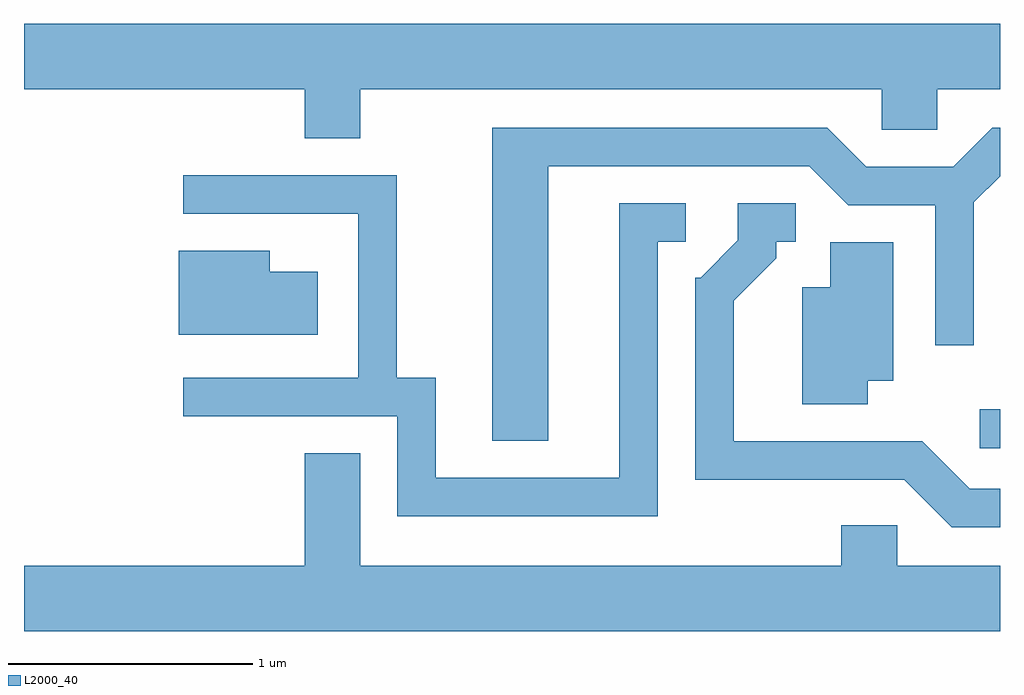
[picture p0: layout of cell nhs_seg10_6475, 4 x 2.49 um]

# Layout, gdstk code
import gdstk
lib = gdstk.Library(unit=1e-6, precision=1e-09)
def R(c, l, rs):  # rectangles x0, y0, x1, y1
    for r in rs: c.add(gdstk.rectangle(r[:2], r[2:], *l))
def P(c, l, *ps):  # polygons
    for p in ps: c.add(gdstk.Polygon(p, *l))
L2000_40 = (2000, 40)

nhs_seg10_6475 = lib.new_cell('nhs_seg10_6475')
R(nhs_seg10_6475, L2000_40, [(379.528,2190.146,379.611,2190.304)])
P(nhs_seg10_6475, L2000_40, [(376.989,2191.616),(379.126,2191.616),(379.126,2191.451),(379.354,2191.451),(379.354,2191.616),(379.611,2191.616),(379.611,2191.884),(375.611,2191.884),(375.611,2191.616),(376.761,2191.616),(376.761,2191.416),(376.989,2191.416)],
  [(377.759,2191.301),(378.829,2191.301),(378.989,2191.141),(379.346,2191.141),(379.346,2190.568),(379.504,2190.568),(379.504,2191.154),(379.611,2191.26),(379.611,2191.459),(379.579,2191.459),(379.419,2191.299),(379.062,2191.299),(378.902,2191.459),(377.531,2191.459),(377.531,2190.176),(377.759,2190.176)],
  [(378.209,2190.991),(378.323,2190.991),(378.323,2191.149),(378.051,2191.149),(378.051,2190.024),(377.299,2190.024),(377.299,2190.434),(377.139,2190.434),(377.139,2191.264),(376.263,2191.264),(376.263,2191.106),(376.981,2191.106),(376.981,2190.434),(376.263,2190.434),(376.263,2190.276),(377.141,2190.276),(377.141,2189.866),(378.209,2189.866)],
  [(379.611,2189.979),(379.487,2189.979),(379.292,2190.174),(378.519,2190.174),(378.519,2190.749),(378.694,2190.924),(378.694,2190.991),(378.773,2190.991),(378.773,2191.149),(378.536,2191.149),(378.536,2190.997),(378.384,2190.844),(378.361,2190.844),(378.361,2190.016),(379.219,2190.016),(379.414,2189.821),(379.611,2189.821)],
  [(379.069,2190.421),(379.174,2190.421),(379.174,2190.989),(378.916,2190.989),(378.916,2190.804),(378.801,2190.804),(378.801,2190.326),(379.069,2190.326)],
  [(376.814,2190.869),(376.619,2190.869),(376.619,2190.954),(376.246,2190.954),(376.246,2190.611),(376.814,2190.611)],
  [(379.611,2189.664),(379.189,2189.664),(379.189,2189.829),(378.961,2189.829),(378.961,2189.664),(376.989,2189.664),(376.989,2190.124),(376.761,2190.124),(376.761,2189.664),(375.611,2189.664),(375.611,2189.396),(379.611,2189.396)])

lib.write_gds('nhs_seg10_6475.gds')
